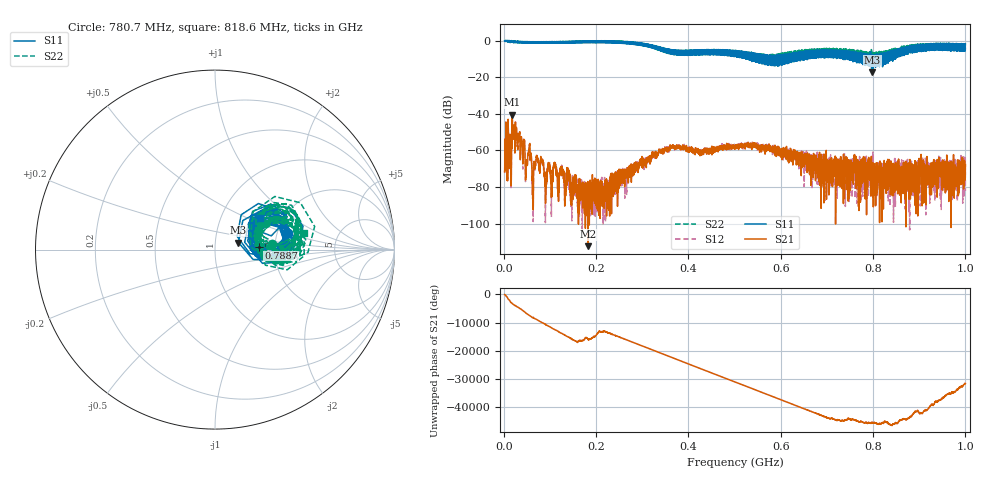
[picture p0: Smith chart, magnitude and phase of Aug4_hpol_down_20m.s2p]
!Keysight Technologies N9923A: A.12.45
!Date: Tuesday, 05 August 2025 18:22:42
!Timezone: (UTC+08:00) Kuala Lumpur, Singapore
!Model: N9923A
!Serial: MY61181427
!GPS Latitude:
!GPS Longitude:
!GPS TimeStamp: 0001-01-01 00:00:00Z
!GPS Seconds Since Last Read: 0
!CHECKSUM:1790990942
!Correction: S11(ON U)S21(ON U)S12(ON U)S22(ON U)
!S2P File: Measurements:S11,S21,S12,S22:
# Hz S DB R 50
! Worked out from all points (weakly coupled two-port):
!   4001 points, 2 MHz to 1 GHz, reference 50 ohm
!   highest |S21| = -40.46 dB at 18.47 MHz (marker M1); lowest = -112.4 dB at 182.4 MHz (marker M2)
!   lowest |S11| = -17.3 dB at 798.7 MHz (marker M3), VSWR 1.32, Z = 64.8 + j5.2 ohm
!   |S11| at or under -10 dB: 569.0752 MHz to 569.8987 MHz (823.5 kHz wide, 0.145 % of centre); 575.8201 MHz to 576.6708 MHz (850.7 kHz wide, 0.148 % of centre); 582.5635 MHz to 583.4302 MHz (866.7 kHz wide, 0.149 % of centre)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
!   |S22| runs from -14.0 to 0.1 dB; largest |S21 - S12| = 0.0011
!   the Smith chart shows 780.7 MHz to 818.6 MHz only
!   S11 on the Smith chart (normalised r, x): 780.7 MHz: 2.29, +0.50; 788.7 MHz: 1.64, +0.04; 818.6 MHz: 1.53, +0.58
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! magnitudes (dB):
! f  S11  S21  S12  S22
! 2 MHz  -0.1  -71.8  -72.4  -0.1
! 18.47 MHz  -0.7  -40.5  -40.5  -0.6
! 23.46 MHz  -0.4  -47.8  -48.0  -0.3
! 46.41 MHz  -0.8  -66.4  -66.5  -0.8
! 56.14 MHz  -1.2  -56.8  -56.7  -1.3
! 64.87 MHz  -0.9  -68.7  -67.4  -0.9
! 75.6 MHz  -0.9  -66.5  -65.7  -0.8
! 90.57 MHz  -0.7  -88.9  -82.0  -0.6
! 111 MHz  -1.1  -66.8  -67.3  -0.9
! 168.4 MHz  -1.2  -82.3  -76.1  -1.0
! 182.4 MHz  -0.5  -112.4  -80.6  -0.5
! 244.8 MHz  -0.3  -78.9  -78.6  -0.3
! 334.8 MHz  -4.2  -61.4  -60.9  -4.8
! 501 MHz  -6.1  -58.4  -58.0  -7.1
! 667.4 MHz  -8.7  -63.9  -67.0  -8.1
! 780.7 MHz  -7.6  -67.6  -72.7  -9.9
! 788.7 MHz  -12.3  -71.6  -73.6  -10.7
! 798.7 MHz  -17.3  -77.5  -69.8  -8.7
! 818.6 MHz  -10.4  -71.4  -77.2  -6.0
! 833.8 MHz  -9.0  -71.3  -66.2  -5.4
! 980 MHz  -2.3  -70.0  -82.3  -2.0
! 1 GHz  -1.8  -67.7  -82.2  -3.5
